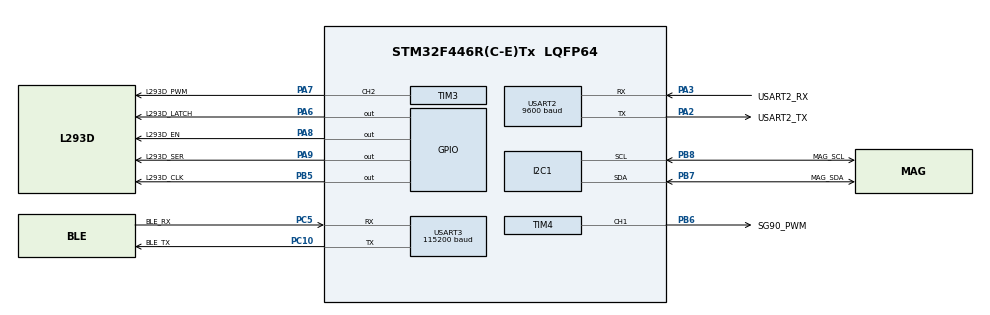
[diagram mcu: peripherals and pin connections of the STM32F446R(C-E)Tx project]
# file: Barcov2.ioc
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Mcu.Family=STM32F4
Mcu.Name=STM32F446R(C-E)Tx
Mcu.Package=LQFP64
NVIC.PriorityGroup=NVIC_PRIORITYGROUP_4
PA2.GPIO_Label=USART2_TX
PA2.Mode=Asynchronous
PA2.Signal=USART2_TX
PA3.GPIO_Label=USART2_RX
PA3.Mode=Asynchronous
PA3.Signal=USART2_RX
PA6.GPIO_Label=L293D_LATCH
PA6.Signal=GPIO_Output
PA7.GPIO_Label=L293D_PWM
PA7.Signal=S_TIM3_CH2
PA8.GPIO_Label=L293D_EN
PA8.Signal=GPIO_Output
PA9.GPIO_Label=L293D_SER
PA9.Signal=GPIO_Output
PB5.GPIO_Label=L293D_CLK
PB5.Signal=GPIO_Output
PB6.GPIO_Label=SG90_PWM
PB6.Signal=S_TIM4_CH1
PB7.GPIO_Label=MAG_SDA
PB7.Mode=I2C
PB7.Signal=I2C1_SDA
PB8.GPIO_Label=MAG_SCL
PB8.Mode=I2C
PB8.Signal=I2C1_SCL
PC10.GPIO_Label=BLE_TX
PC10.Mode=Asynchronous
PC10.Signal=USART3_TX
PC5.GPIO_Label=BLE_RX
PC5.Mode=Asynchronous
PC5.Signal=USART3_RX
ProjectManager.HeapSize=0x200
ProjectManager.StackSize=0x400
ProjectManager.TargetToolchain=STM32CubeIDE
RCC.AHBFreq_Value=16000000
RCC.APB1CLKDivider=RCC_HCLK_DIV8
RCC.APB1Freq_Value=2000000
RCC.APB1TimFreq_Value=4000000
RCC.APB2Freq_Value=16000000
RCC.APB2TimFreq_Value=16000000
RCC.CortexFreq_Value=16000000
RCC.HCLKFreq_Value=16000000
RCC.USBFreq_Value=96000000
RCC.VCOOutputFreq_Value=192000000
SH.S_TIM3_CH2.0=TIM3_CH2,PWM Generation2 CH2
SH.S_TIM4_CH1.0=TIM4_CH1,PWM Generation1 CH1
TIM3.Channel-PWM\ Generation2\ CH2=TIM_CHANNEL_2
TIM3.Period=1250
TIM3.Prescaler=128-1
TIM4.Channel-PWM\ Generation1\ CH1=TIM_CHANNEL_1
TIM4.Period=1250
TIM4.Prescaler=64-1
USART2.BaudRate=9600
USART2.VirtualMode=VM_ASYNC
USART3.BaudRate=115200
USART3.VirtualMode=VM_ASYNC
board=custom

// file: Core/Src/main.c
/* USER CODE BEGIN Header */
/**
 ******************************************************************************
 * @file           : main.c
 * @brief          : Main program body
 ******************************************************************************
 * @attention
 *
 * Copyright (c) 2023 STMicroelectronics.
 * All rights reserved.
 *
 * This software is licensed under terms that can be found in the LICENSE file
 * in the root directory of this software component.
 * If no LICENSE file comes with this software, it is provided AS-IS.
 *
 ******************************************************************************
 */
/* USER CODE END Header */
#include "main.h"

/* USER CODE BEGIN Includes */
#include "SERVO.h"
#include "DCMOTOR.h"
#include "JDY18.h"
#include "POSITIONING_BLE.h"
#include "HMC5883L.h"
#include "PID.h"
/* USER CODE END Includes */

/* USER CODE BEGIN PD */
// SERVO DEFINITIONS
#define SERVO_PERIOD 1250;
#define SERVO_MIN_DUTY_CICLE 0.05;
#define SERVO_MAX_DUTY_CICLE 0.115;
#define SERVO_CALIBRATION_GAIN 1.47;
#define SERVO_CALIBRATION_OFFSET -12.6;

// SERVO CONTROLLER DEFINITIONS
#define SERVO_CONTROLLER_KP 1
#define SERVO_CONTROLLER_KI 0
#define SERVO_CONTROLLER_KD 0

// CYCLE PERIOD IN MILLIS
#define CYCLE_PERIOD_MS 3000

// DCMOTOR DEFINITIONS
#define DCMOTOR_PERIOD 1250;

// POSITIONING DEFINITIONS
#define DEPART_X 14.495
#define DEPART_Y 34.342

#define ARRIVAL_X 0
#define ARRIVAL_Y 0

#define OTHER_X -12.64
#define OTHER_Y 16.948

// FIRST STATE TIME
#define FIRST_STATE_MS 23000
/* USER CODE END PD */

I2C_HandleTypeDef hi2c1;

TIM_HandleTypeDef htim3;
TIM_HandleTypeDef htim4;

UART_HandleTypeDef huart2;
UART_HandleTypeDef huart3;

void SystemClock_Config(void);
static void MX_GPIO_Init(void);
static void MX_I2C1_Init(void);
static void MX_TIM4_Init(void);
static void MX_USART2_UART_Init(void);
static void MX_USART3_UART_Init(void);
static void MX_TIM3_Init(void);
/* USER CODE BEGIN PFP */
void servoConfigFactory(SERVO_Config_t *config);
void dcMotorConfigFactory(DCMOTOR_Config_t *config);
void positioningBleConfigFactory(POSITIONING_BLE_Devices_Info_t *devicesInfo);
void magnetometerConfigFactory(HMC5883L_Config_t *config);
void servoPidControllerFactory(PID_Controller_t *controller);
void startInitialState(DCMOTOR_Config_t dcMotorConfig, SERVO_Config_t servoConfig);
/* USER CODE END PFP */

int main(void)
{

  /* MCU Configuration--------------------------------------------------------*/

  /* Reset of all peripherals, Initializes the Flash interface and the Systick. */
  HAL_Init();

  /* Configure the system clock */
  SystemClock_Config();

  /* Initialize all configured peripherals */
  MX_GPIO_Init();
  MX_I2C1_Init();
  MX_TIM4_Init();
  MX_USART2_UART_Init();
  MX_USART3_UART_Init();
  MX_TIM3_Init();
  /* USER CODE BEGIN 2 */
  HAL_Delay(20000);

	SERVO_Config_t servoConfig;
	servoConfigFactory(&servoConfig);
//
//	DCMOTOR_Config_t dcMotorConfig;
//	dcMotorConfigFactory(&dcMotorConfig);

	JDY18_Device_t devices[JDY18_MAX_DEVICES];
	JDY18_Setup(&huart3);
//	JDY18_SetRole(JDY18_ROLE_MASTER);
//	JDY18_SetBaudRate(JDY18_Baud_115200);

//	JDY18_Scan(devices);

	POSITIONING_BLE_Config_t positiningBleConfig;
	POSITIONING_BLE_Devices_Info_t devicesInfo;
	positioningBleConfigFactory(&devicesInfo);
	POSITIONING_BLE_Cartesian_Point_t currentPosition;
	currentPosition.x = 0;
	currentPosition.y = 0;

	POSITIONING_BLE_Cartesian_Point_t targetPoint = {0,0};

	DCMOTOR_Config_t dcMotorConfig;
	dcMotorConfigFactory(&dcMotorConfig);
    DCMOTOR_SetSpeedPercentage(dcMotorConfig, 0);

	HMC5883L_Config_t magnetometerConfig;
	magnetometerConfigFactory(&magnetometerConfig);

	HMC5883L_Init(magnetometerConfig);
	//HMC5883L_GetCalibrationData(magnetometerConfig, &huart2);
	HMC5883L_Data_t data;
	data.x = 0;
	data.y = 0;
	data.z = 0;
	data.degrees = 0;
	data.radians = 0;

	PID_Controller_t servoPidController;

	HMC5883L_Data_t currentAngleData;
	float currentAngle = 0;
	float angleSetpoint = 0;
	float angleControlAction = 0;
	int numBleDevices = 0;
	float error = 0;

	startInitialState(dcMotorConfig, servoConfig);
  /* USER CODE END 2 */

  /* Infinite loop */
	while (1) {

    /* USER CODE BEGIN 3 */
		// position reading
//		numBleDevices = JDY18_Scan(devices);
//		POSITIONING_BLE_CreateConfig(&positiningBleConfig, devicesInfo, devices, numBleDevices);
//		POSITIONING_BLE_Cartesian_Point_t currentPosition = POSITIONING_BLE_GetPosition(&positiningBleConfig);

		currentPosition.x = 14.75;
		currentPosition.y = 33.11;
		// angle reading
		angleSetpoint = POSITIONING_BLE_CalculateDesiredAngleSetpoint(currentPosition, targetPoint);

		HMC5883L_Read(magnetometerConfig, &currentAngleData);
		currentAngle = currentAngleData.degrees;

		// angle processing
//		PID_SetSetpoint(&servoPidController, angleSetpoint);
//		PID_ProcessInput(&servoPidController, currentAngle);
//		angleControlAction = PID_CalculateControlAction(&servoPidController);

		if(currentAngle < 0) currentAngle+=360;
		error = angleSetpoint - currentAngle;

//		if(error<-90) error=-90;
//		if(error>90) error = 90;

		angleControlAction = error;

		// angle writing
		SERVO_SetAngle(servoConfig, angleControlAction);

		HAL_Delay(CYCLE_PERIOD_MS);
	}
  /* USER CODE END 3 */
}

void SystemClock_Config(void)
{
  RCC_OscInitTypeDef RCC_OscInitStruct = {0};
  RCC_ClkInitTypeDef RCC_ClkInitStruct = {0};

  /** Configure the main internal regulator output voltage
  */
  __HAL_RCC_PWR_CLK_ENABLE();
  __HAL_PWR_VOLTAGESCALING_CONFIG(PWR_REGULATOR_VOLTAGE_SCALE3);

  /** Initializes the RCC Oscillators according to the specified parameters
  * in the RCC_OscInitTypeDef structure.
  */
  RCC_OscInitStruct.OscillatorType = RCC_OSCILLATORTYPE_HSI;
  RCC_OscInitStruct.HSIState = RCC_HSI_ON;
  RCC_OscInitStruct.HSICalibrationValue = RCC_HSICALIBRATION_DEFAULT;
  RCC_OscInitStruct.PLL.PLLState = RCC_PLL_NONE;
  if (HAL_RCC_OscConfig(&RCC_OscInitStruct) != HAL_OK)
  {
    Error_Handler();
  }

  /** Initializes the CPU, AHB and APB buses clocks
  */
  RCC_ClkInitStruct.ClockType = RCC_CLOCKTYPE_HCLK|RCC_CLOCKTYPE_SYSCLK
                              |RCC_CLOCKTYPE_PCLK1|RCC_CLOCKTYPE_PCLK2;
  RCC_ClkInitStruct.SYSCLKSource = RCC_SYSCLKSOURCE_HSI;
  RCC_ClkInitStruct.AHBCLKDivider = RCC_SYSCLK_DIV1;
  RCC_ClkInitStruct.APB1CLKDivider = RCC_HCLK_DIV8;
  RCC_ClkInitStruct.APB2CLKDivider = RCC_HCLK_DIV1;

  if (HAL_RCC_ClockConfig(&RCC_ClkInitStruct, FLASH_LATENCY_0) != HAL_OK)
  {
    Error_Handler();
  }
}

static void MX_I2C1_Init(void)
{

  hi2c1.Instance = I2C1;
  hi2c1.Init.ClockSpeed = 100000;
  hi2c1.Init.DutyCycle = I2C_DUTYCYCLE_2;
  hi2c1.Init.OwnAddress1 = 0;
  hi2c1.Init.AddressingMode = I2C_ADDRESSINGMODE_7BIT;
  hi2c1.Init.DualAddressMode = I2C_DUALADDRESS_DISABLE;
  hi2c1.Init.OwnAddress2 = 0;
  hi2c1.Init.GeneralCallMode = I2C_GENERALCALL_DISABLE;
  hi2c1.Init.NoStretchMode = I2C_NOSTRETCH_DISABLE;
  if (HAL_I2C_Init(&hi2c1) != HAL_OK)
  {
    Error_Handler();
  }

}

static void MX_TIM3_Init(void)
{

  TIM_MasterConfigTypeDef sMasterConfig = {0};
  TIM_OC_InitTypeDef sConfigOC = {0};

  htim3.Instance = TIM3;
  htim3.Init.Prescaler = 128-1;
  htim3.Init.CounterMode = TIM_COUNTERMODE_UP;
  htim3.Init.Period = 1250;
  htim3.Init.ClockDivision = TIM_CLOCKDIVISION_DIV1;
  htim3.Init.AutoReloadPreload = TIM_AUTORELOAD_PRELOAD_DISABLE;
  if (HAL_TIM_PWM_Init(&htim3) != HAL_OK)
  {
    Error_Handler();
  }
  sMasterConfig.MasterOutputTrigger = TIM_TRGO_RESET;
  sMasterConfig.MasterSlaveMode = TIM_MASTERSLAVEMODE_DISABLE;
  if (HAL_TIMEx_MasterConfigSynchronization(&htim3, &sMasterConfig) != HAL_OK)
  {
    Error_Handler();
  }
  sConfigOC.OCMode = TIM_OCMODE_PWM1;
  sConfigOC.Pulse = 0;
  sConfigOC.OCPolarity = TIM_OCPOLARITY_HIGH;
  sConfigOC.OCFastMode = TIM_OCFAST_DISABLE;
  if (HAL_TIM_PWM_ConfigChannel(&htim3, &sConfigOC, TIM_CHANNEL_2) != HAL_OK)
  {
    Error_Handler();
  }
  HAL_TIM_MspPostInit(&htim3);

}

static void MX_TIM4_Init(void)
{

  TIM_MasterConfigTypeDef sMasterConfig = {0};
  TIM_OC_InitTypeDef sConfigOC = {0};

  htim4.Instance = TIM4;
  htim4.Init.Prescaler = 64-1;
  htim4.Init.CounterMode = TIM_COUNTERMODE_UP;
  htim4.Init.Period = 1250;
  htim4.Init.ClockDivision = TIM_CLOCKDIVISION_DIV1;
  htim4.Init.AutoReloadPreload = TIM_AUTORELOAD_PRELOAD_DISABLE;
  if (HAL_TIM_PWM_Init(&htim4) != HAL_OK)
  {
    Error_Handler();
  }
  sMasterConfig.MasterOutputTrigger = TIM_TRGO_RESET;
  sMasterConfig.MasterSlaveMode = TIM_MASTERSLAVEMODE_DISABLE;
  if (HAL_TIMEx_MasterConfigSynchronization(&htim4, &sMasterConfig) != HAL_OK)
  {
    Error_Handler();
  }
  sConfigOC.OCMode = TIM_OCMODE_PWM1;
  sConfigOC.Pulse = 0;
  sConfigOC.OCPolarity = TIM_OCPOLARITY_HIGH;
  sConfigOC.OCFastMode = TIM_OCFAST_DISABLE;
  if (HAL_TIM_PWM_ConfigChannel(&htim4, &sConfigOC, TIM_CHANNEL_1) != HAL_OK)
  {
    Error_Handler();
  }
  HAL_TIM_MspPostInit(&htim4);

}

static void MX_USART2_UART_Init(void)
{

  huart2.Instance = USART2;
  huart2.Init.BaudRate = 9600;
  huart2.Init.WordLength = UART_WORDLENGTH_8B;
  huart2.Init.StopBits = UART_STOPBITS_1;
  huart2.Init.Parity = UART_PARITY_NONE;
  huart2.Init.Mode = UART_MODE_TX_RX;
  huart2.Init.HwFlowCtl = UART_HWCONTROL_NONE;
  huart2.Init.OverSampling = UART_OVERSAMPLING_16;
  if (HAL_UART_Init(&huart2) != HAL_OK)
  {
    Error_Handler();
  }

}

static void MX_USART3_UART_Init(void)
{

  huart3.Instance = USART3;
  huart3.Init.BaudRate = 115200;
  huart3.Init.WordLength = UART_WORDLENGTH_8B;
  huart3.Init.StopBits = UART_STOPBITS_1;
  huart3.Init.Parity = UART_PARITY_NONE;
  huart3.Init.Mode = UART_MODE_TX_RX;
  huart3.Init.HwFlowCtl = UART_HWCONTROL_NONE;
  huart3.Init.OverSampling = UART_OVERSAMPLING_16;
  if (HAL_UART_Init(&huart3) != HAL_OK)
  {
    Error_Handler();
  }

}

static void MX_GPIO_Init(void)
{
  GPIO_InitTypeDef GPIO_InitStruct = {0};

  /* GPIO Ports Clock Enable */
  __HAL_RCC_GPIOA_CLK_ENABLE();
  __HAL_RCC_GPIOC_CLK_ENABLE();
  __HAL_RCC_GPIOB_CLK_ENABLE();

  /*Configure GPIO pin Output Level */
  HAL_GPIO_WritePin(GPIOA, L293D_LATCH_Pin|L293D_EN_Pin|L293D_SER_Pin, GPIO_PIN_RESET);

  /*Configure GPIO pin Output Level */
  HAL_GPIO_WritePin(L293D_CLK_GPIO_Port, L293D_CLK_Pin, GPIO_PIN_RESET);

  /*Configure GPIO pins : L293D_LATCH_Pin L293D_EN_Pin L293D_SER_Pin */
  GPIO_InitStruct.Pin = L293D_LATCH_Pin|L293D_EN_Pin|L293D_SER_Pin;
  GPIO_InitStruct.Mode = GPIO_MODE_OUTPUT_PP;
  GPIO_InitStruct.Pull = GPIO_NOPULL;
  GPIO_InitStruct.Speed = GPIO_SPEED_FREQ_LOW;
  HAL_GPIO_Init(GPIOA, &GPIO_InitStruct);

  /*Configure GPIO pin : L293D_CLK_Pin */
  GPIO_InitStruct.Pin = L293D_CLK_Pin;
  GPIO_InitStruct.Mode = GPIO_MODE_OUTPUT_PP;
  GPIO_InitStruct.Pull = GPIO_NOPULL;
  GPIO_InitStruct.Speed = GPIO_SPEED_FREQ_LOW;
  HAL_GPIO_Init(L293D_CLK_GPIO_Port, &GPIO_InitStruct);

}

/* USER CODE BEGIN 4 */
void servoConfigFactory(SERVO_Config_t *config) {
	SERVO_TimerConfig_t servoPWMConfig;
	servoPWMConfig.handle = htim4;
	servoPWMConfig.channel = TIM_CHANNEL_1;
	const uint32_t servoPeriod = SERVO_PERIOD
	;
	servoPWMConfig.period = servoPeriod;
	const float servoMinDutyCicle = SERVO_MIN_DUTY_CICLE
	;
	const float servoMaxDutyCicle = SERVO_MAX_DUTY_CICLE
	;
	servoPWMConfig.minDutyCyclePercentage = servoMinDutyCicle;
	servoPWMConfig.maxDutyCyclePercentage = servoMaxDutyCicle;

	SERVO_Calibration_t servoCalibration;
	const float servoCalibrationGain = SERVO_CALIBRATION_GAIN
	;
	const float servoOffset = SERVO_CALIBRATION_OFFSET
	;
	servoCalibration.gain = servoCalibrationGain;
	servoCalibration.offset = servoOffset;

	config->timerConfig = servoPWMConfig;
	config->calibration = servoCalibration;
}

void dcMotorConfigFactory(DCMOTOR_Config_t* config) {
	int dcMotorPeriod = DCMOTOR_PERIOD;
	DCMOTOR_TimerConfig_t dcmotorTimerConfig;
	dcmotorTimerConfig.channel = TIM_CHANNEL_2;
	dcmotorTimerConfig.handle = htim3;
	dcmotorTimerConfig.period = dcMotorPeriod;

	config->timerConfig = dcmotorTimerConfig;
	config->clk.GPIOx = L293D_CLK_GPIO_Port;
	config->clk.GPIO_Pin = L293D_CLK_Pin;
	config->enable.GPIOx = L293D_EN_GPIO_Port;
	config->enable.GPIO_Pin = L293D_EN_Pin;
	config->latch.GPIOx = L293D_LATCH_GPIO_Port;
	config->latch.GPIO_Pin = L293D_LATCH_Pin;
	config->data.GPIOx = L293D_SER_GPIO_Port;
	config->data.GPIO_Pin = L293D_SER_Pin;
}

void positioningBleConfigFactory(POSITIONING_BLE_Devices_Info_t *devicesInfo) {
	strcpy(devicesInfo->departureDevice.name,"PSE2022_B1");
	devicesInfo->departureDevice.x = DEPART_X;
	devicesInfo->departureDevice.y = DEPART_Y;

	strcpy(devicesInfo->arrivalDevice.name,"PSE2022_B2");
	devicesInfo->arrivalDevice.x = ARRIVAL_X;
	devicesInfo->arrivalDevice.y = ARRIVAL_Y;

	strcpy(devicesInfo->otherDevice.name,"PSE2022_B3");
	devicesInfo->otherDevice.x = OTHER_X;
	devicesInfo->otherDevice.y = OTHER_Y;
}

void magnetometerConfigFactory(HMC5883L_Config_t *config) {
	config->dataOutputRate = HMC5883L_DOR_15;
	config->gain = HMC5883L_GAIN_0_88;
	config->measurementMode = HMC5883L_MESUAREMENT_NORMAL;
	config->operatingMode = HMC5883L_CONTINUOUS_MODE;
	config->samplesNum = HMC5883L_SAMPLES_8;
	config->handle = &hi2c1;

	// Final axis data = read - offset
	config->calibration.x_offset = -10.6425;
	config->calibration.y_offset = -22.8545;
	config->calibration.z_offset = -71.7215; // don't care, only xy plane is relevant for boat navigation
}

void servoPidControllerFactory(PID_Controller_t *controller) {
	float kp = (float) SERVO_CONTROLLER_KP;
	float ki = (float) SERVO_CONTROLLER_KI;
	float kd = (float) SERVO_CONTROLLER_KD;

	float servoMax = (float) SERVO_MAX_ANGLE;
	float servoMin = (float) SERVO_MIN_ANGLE;

	PID_Create(controller, kp, ki, kd, CYCLE_PERIOD_MS);
	PID_SetSaturationLimits(controller, servoMin, servoMax);
}

/**
 * The trajectory begins with 10s of motor pwm 100% on and with middle servo position.
 */
void startInitialState(DCMOTOR_Config_t dcMotorConfig, SERVO_Config_t servoConfig) {
	int dcMotorInitialSpeed = 100;

	DCMOTOR_SetDirection(dcMotorConfig, FORWARD);
	DCMOTOR_SetSpeedPercentage(dcMotorConfig, dcMotorInitialSpeed);

	float servoInitialAngle = (float) SERVO_MIDDLE_ANGLE;
	SERVO_SetAngle(servoConfig, servoInitialAngle);

	HAL_Delay(FIRST_STATE_MS);
}
/* USER CODE END 4 */

void Error_Handler(void)
{
	__disable_irq();
	while (1) {
	}
}
